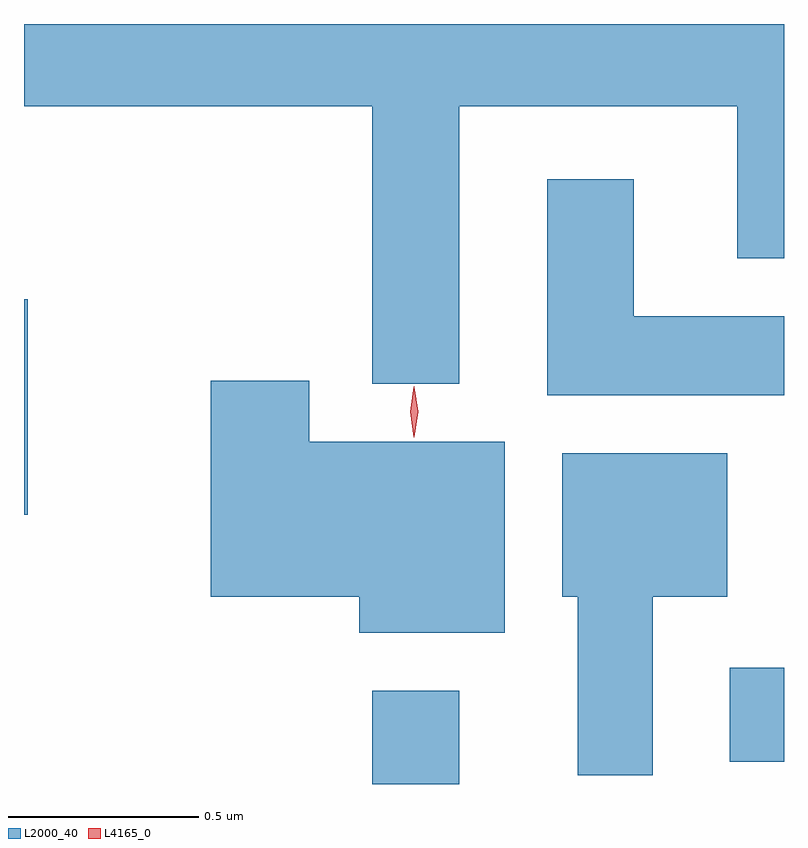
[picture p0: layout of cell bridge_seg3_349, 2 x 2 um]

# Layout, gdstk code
import gdstk
lib = gdstk.Library(unit=1e-6, precision=1e-09)
def R(c, l, rs):  # rectangles x0, y0, x1, y1
    for r in rs: c.add(gdstk.rectangle(r[:2], r[2:], *l))
def P(c, l, *ps):  # polygons
    for p in ps: c.add(gdstk.Polygon(p, *l))
L2000_40 = (2000, 40)
L4165_0 = (4165, 0)

bridge_seg3_349 = lib.new_cell('bridge_seg3_349')
R(bridge_seg3_349, L2000_40, [(599.751,1122.013,599.979,1122.259), (600.691,1122.071,600.834,1122.319), (598.834,1122.721,598.844,1123.289)])
P(bridge_seg3_349, L2000_40, [(599.979,1123.796),(600.711,1123.796),(600.711,1123.396),(600.834,1123.396),(600.834,1124.013),(598.834,1124.013),(598.834,1123.796),(599.751,1123.796),(599.751,1123.066),(599.979,1123.066)],
  [(600.834,1123.244),(600.439,1123.244),(600.439,1123.604),(600.211,1123.604),(600.211,1123.036),(600.834,1123.036)],
  [(600.099,1122.914),(599.584,1122.914),(599.584,1123.074),(599.326,1123.074),(599.326,1122.506),(599.716,1122.506),(599.716,1122.411),(600.099,1122.411)],
  [(600.489,1122.506),(600.684,1122.506),(600.684,1122.884),(600.251,1122.884),(600.251,1122.506),(600.291,1122.506),(600.291,1122.036),(600.489,1122.036)])
P(bridge_seg3_349, L4165_0, [(599.86,1122.926),(599.851,1122.993),(599.86,1123.059),(599.861,1123.06),(599.861,1123.059),(599.871,1122.993),(599.861,1122.926),(599.861,1122.926)])

lib.write_gds('bridge_seg3_349.gds')
